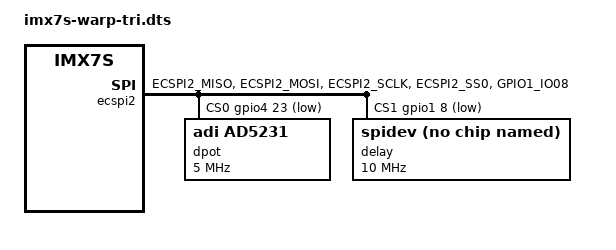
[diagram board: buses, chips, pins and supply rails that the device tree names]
#include "imx7s-warp.dts"

&ecspi2 {
	fsl,spi-num-chipselects = <2>;
	cs-gpios = <&gpio4 23 GPIO_ACTIVE_LOW>,
	 	   <&gpio1 8 GPIO_ACTIVE_LOW>;
	pinctrl-names = "default";
	pinctrl-0 = <&pinctrl_ecspi2>;
	status = "okay";		
		
	dpot: ad5231@0 {
		compatible = "adi,ad5231";
		#io-channel-cells = <1>;	
		#address-cells = <1>;
		#size-cells = <0>;		
		reg = <0>;
		spi-max-frequency = <5000000>;
	};
	
	delay: ds1023@1 {
		compatible = "spidev";
		reg = <1>;
		spi-max-frequency = <10000000>;
		spi-cs-high;
	};
};


&iomuxc {
	pinctrl-names = "default";
	imx7s-warp {
		
		pinctrl_ecspi2: ecspi2grp {
			fsl,pins = <
				MX7D_PAD_ECSPI2_MISO__ECSPI2_MISO          0x00000014
				MX7D_PAD_ECSPI2_MOSI__ECSPI2_MOSI          0x00000014
				MX7D_PAD_ECSPI2_SCLK__ECSPI2_SCLK          0x00000014
				MX7D_PAD_ECSPI2_SS0__ECSPI2_SS0            0x00000014	/* CS1 */
				MX7D_PAD_GPIO1_IO08__GPIO1_IO8		   0x00000014	/* CS2 */
			>;
		};
	};
};

